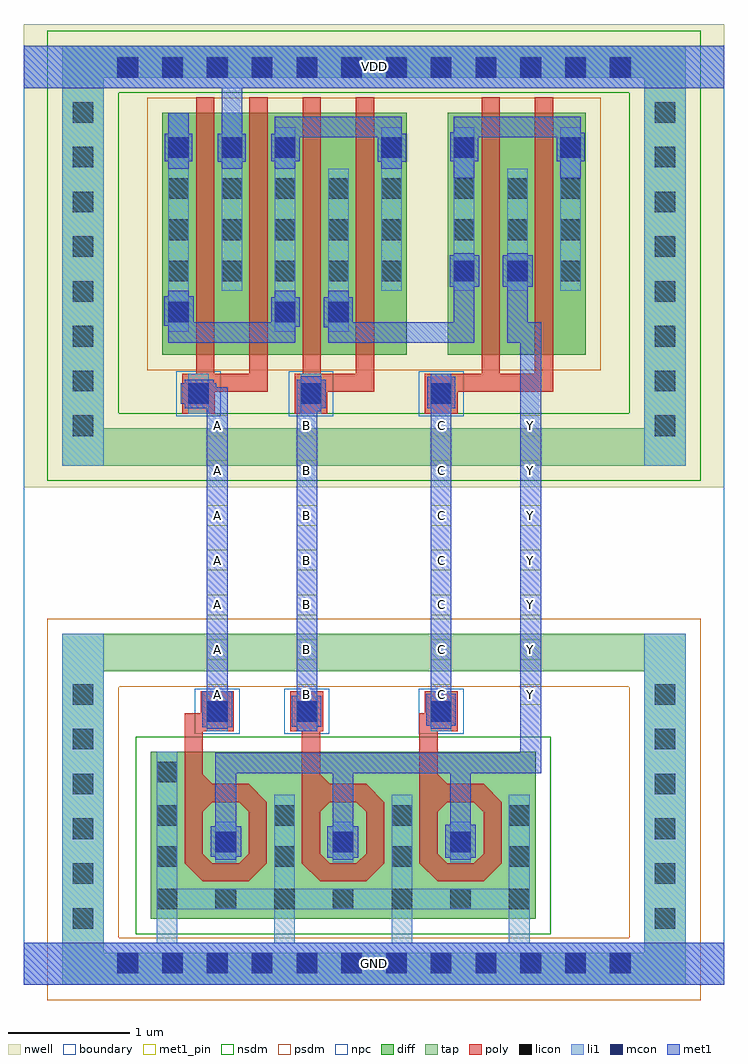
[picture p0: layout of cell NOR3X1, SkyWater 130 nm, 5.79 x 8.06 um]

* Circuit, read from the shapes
.subckt NOR3X1 A B C GND VDD Y
XM1 GND A Y GND sky130_fd_pr__nfet_01v8 w=2.56 l=0.1472
XM2 GND B Y GND sky130_fd_pr__nfet_01v8 w=2.56 l=0.1485
XM3 GND C Y GND sky130_fd_pr__nfet_01v8 w=2.56 l=0.1462
XM4 VDD A n1 VDD sky130_fd_pr__pfet_01v8 w=2 l=0.15 m=2
XM5 n2 B n1 VDD sky130_fd_pr__pfet_01v8 w=2 l=0.15 m=2
XM6 Y C n2 VDD sky130_fd_pr__pfet_01v8 w=2 l=0.15 m=2
.ends

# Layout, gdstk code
from math import pi, radians
import gdstk
lib = gdstk.Library(unit=1e-6, precision=1e-09)
def R(c, l, rs):  # rectangles x0, y0, x1, y1
    for r in rs: c.add(gdstk.rectangle(r[:2], r[2:], *l))
def A(c, l, x, y, w, h, nx, ny, dx, dy):  # array of equal rectangles
    R(c, l, [(x+i*dx, y+j*dy, x+i*dx+w, y+j*dy+h) for i in range(nx) for j in range(ny)])
def P(c, l, *ps):  # polygons
    for p in ps: c.add(gdstk.Polygon(p, *l))
nwell = (64, 20)
diff = (65, 20)
tap = (65, 44)
poly = (66, 20)
licon = (66, 44)
li1 = (67, 20)
mcon = (67, 44)
met1_pin = (68, 16)
met1 = (68, 20)
nsdm = (93, 44)
psdm = (94, 20)
npc = (95, 20)
boundary = (235, 4)

diff_ring_side = lib.new_cell('diff_ring_side')
R(diff_ring_side, nwell, [(-0.435,3.93,0.435,7.75)])
R(diff_ring_side, tap, [(-0.17,-0.17,0.17,2.72), (-0.17,4.11,0.17,7.57)])
A(diff_ring_side, licon, -0.085, 0.285, 0.17, 0.17, 1, 6, 0, 0.37)
A(diff_ring_side, licon, -0.085, 4.355, 0.17, 0.17, 1, 8, 0, 0.37)
R(diff_ring_side, li1, [(-0.17,-0.17,0.17,2.72), (-0.17,4.11,0.17,7.57)])
R(diff_ring_side, met1, [(-0.17,-0.17,0.17,0.17), (-0.17,7.23,0.17,7.57)])
R(diff_ring_side, nsdm, [(-0.295,3.985,0.295,7.695)])
R(diff_ring_side, psdm, [(-0.295,-0.295,0.295,2.845)])

nmos_top_trim1 = lib.new_cell('nmos_top_trim1')
R(nmos_top_trim1, diff, [(0,0,1.24,1.38)])
R(nmos_top_trim1, poly, [(0.43,0.31,0.81,0.46), (0.28,0.46,0.43,0.965), (0.81,0.46,0.96,0.965), (0.43,0.965,0.96,1.115), (0.81,1.115,0.96,1.545)])
P(nmos_top_trim1, poly, [(0.73,1.115),(0.81,1.115),(0.81,1.195)],
  [(0.28,0.965),(0.43,0.965),(0.43,1.115)],
  [(0.43,0.885),(0.43,0.965),(0.51,0.965)],
  [(0.73,0.965),(0.81,0.965),(0.81,0.885)],
  [(0.43,0.54),(0.43,0.46),(0.51,0.46)],
  [(0.73,0.46),(0.81,0.46),(0.81,0.54)],
  [(0.28,0.46),(0.43,0.46),(0.43,0.31)],
  [(0.81,0.31),(0.81,0.46),(0.96,0.46)])
A(nmos_top_trim1, licon, 0.05, 0.08, 0.17, 0.17, 3, 1, 0.485, 0)
R(nmos_top_trim1, licon, [(0.05,0.43,0.22,0.6), (1.02,0.43,1.19,0.6), (0.535,0.55,0.705,0.72), (0.05,0.77,0.22,0.94), (1.02,0.77,1.19,0.94), (1.02,1.13,1.19,1.3)])
R(nmos_top_trim1, li1, [(0.05,0,0.22,0.08), (1.02,0,1.19,0.08), (0.05,0.08,1.19,0.25), (0.05,0.25,0.22,1.02), (1.02,0.25,1.19,1.38), (0.535,0.47,0.705,0.805)])
R(nmos_top_trim1, nsdm, [(-0.125,-0.125,1.365,1.505)])

pmos2_1 = lib.new_cell('pmos2_1')
R(pmos2_1, nwell, [(0.26,-2.175,1.76,0.185)])
R(pmos2_1, diff, [(0.44,-1.995,1.58,0.005)])
R(pmos2_1, poly, [(0.72,-2.3,1.31,-2.15), (0.72,-2.15,0.87,0.135), (1.16,-2.15,1.31,0.135)])
A(pmos2_1, licon, 0.49, -1.385, 0.17, 0.17, 3, 3, 0.44, 0.34)
A(pmos2_1, li1, 0.49, -1.465, 0.17, 1.01, 3, 1, 0.44, 0)
R(pmos2_1, psdm, [(0.315,-2.12,1.705,0.13)])

poly_li1_contact = lib.new_cell('poly_li1_contact')
R(poly_li1_contact, poly, [(-0.16,-0.14,0.17,0.13)])
R(poly_li1_contact, licon, [(-0.08,-0.09,0.09,0.08)])
R(poly_li1_contact, li1, [(-0.16,-0.09,0.17,0.08)])
R(poly_li1_contact, npc, [(-0.18,-0.19,0.19,0.18)])

nmos_top_trim2 = lib.new_cell('nmos_top_trim2')
R(nmos_top_trim2, diff, [(0,0,1.24,1.38)])
R(nmos_top_trim2, poly, [(0.43,0.31,0.81,0.46), (0.28,0.46,0.43,0.89), (0.81,0.46,0.96,0.89), (0.28,0.89,0.435,0.965), (0.805,0.89,0.96,0.965), (0.43,0.965,0.96,1.115), (0.81,1.115,0.96,1.545)])
P(nmos_top_trim2, poly, [(0.73,1.115),(0.81,1.115),(0.81,1.195)],
  [(0.28,0.965),(0.43,0.965),(0.43,1.115)],
  [(0.435,0.89),(0.435,0.965),(0.51,0.965)],
  [(0.73,0.965),(0.805,0.965),(0.805,0.89)],
  [(0.43,0.54),(0.43,0.46),(0.51,0.46)],
  [(0.73,0.46),(0.81,0.46),(0.81,0.54)],
  [(0.28,0.46),(0.43,0.46),(0.43,0.31)],
  [(0.81,0.31),(0.81,0.46),(0.96,0.46)])
A(nmos_top_trim2, licon, 0.05, 0.08, 0.17, 0.17, 3, 1, 0.485, 0)
R(nmos_top_trim2, licon, [(0.05,0.43,0.22,0.6), (1.02,0.43,1.19,0.6), (0.535,0.55,0.705,0.72), (0.05,0.77,0.22,0.94), (1.02,0.77,1.19,0.94)])
R(nmos_top_trim2, li1, [(0.05,0,0.22,0.08), (1.02,0,1.19,0.08), (0.05,0.08,1.19,0.25), (0.05,0.25,0.22,1.025), (1.02,0.25,1.19,1.025), (0.535,0.47,0.705,0.805)])
R(nmos_top_trim2, nsdm, [(-0.125,-0.125,1.365,1.505)])

nor3x1_pcell = lib.new_cell('nor3x1_pcell')
R(nor3x1_pcell, nwell, [(0.435,3.93,4.765,7.75)])
A(nor3x1_pcell, diff, 0.705, 6.655, 0.17, 0.17, 3, 1, 0.44, 0)
R(nor3x1_pcell, diff, [(0.705,5.295,0.875,5.465), (1.585,5.295,1.755,5.465), (2.025,5.295,2.195,5.465), (2.465,6.655,2.635,6.825), (3.065,6.655,3.235,6.825), (3.945,6.655,4.115,6.825)])
R(nor3x1_pcell, tap, [(0.17,-0.17,4.64,0.085), (0.17,2.41,4.64,2.72), (0.17,4.11,4.64,4.42), (0.17,7.315,4.64,7.57)])
R(nor3x1_pcell, poly, [(0.84,1.875,0.99,2.065), (1.81,1.91,1.96,1.915), (2.78,1.91,2.93,2.065), (3.095,4.72,3.295,4.87)])
A(nor3x1_pcell, licon, 0.285, -0.085, 0.17, 0.17, 12, 2, 0.37, 7.4)
A(nor3x1_pcell, licon, 0.705, 6.655, 0.17, 0.17, 3, 1, 0.44, 0)
R(nor3x1_pcell, licon, [(0.705,5.295,0.875,5.465), (1.585,5.295,1.755,5.465), (2.025,5.295,2.195,5.465), (2.465,6.655,2.635,6.825), (3.065,6.655,3.235,6.825), (3.945,6.655,4.115,6.825)])
A(nor3x1_pcell, li1, 1.095, 0.915, 0.17, 0.17, 3, 1, 0.97, 0)
R(nor3x1_pcell, li1, [(-0.17,-0.17,4.655,0.17), (0.61,0.17,0.78,0.445), (1.58,0.17,1.75,0.445), (2.55,0.17,2.72,0.45), (3.52,0.17,3.69,0.45), (1.025,1.995,1.195,2.165), (1.765,1.995,1.935,2.165), (2.875,1.995,3.045,2.165), (0.87,4.62,1.04,4.79), (1.8,4.62,1.97,4.79), (2.875,4.62,3.045,4.79), (0.705,5.215,0.875,5.975), (1.585,5.215,1.755,5.975), (2.025,5.215,2.195,5.975), (3.065,5.635,3.235,5.805), (3.505,5.635,3.675,5.805), (1.145,6.145,1.315,7.025), (1.585,6.145,1.755,6.905), (2.465,6.145,2.635,6.905), (3.065,6.145,3.235,6.905), (3.945,6.145,4.115,6.905), (0.705,6.525,0.875,7.025), (-0.12,7.23,4.695,7.57)])
A(nor3x1_pcell, mcon, 0.285, -0.085, 0.17, 0.17, 12, 2, 0.37, 7.4)
A(nor3x1_pcell, mcon, 1.095, 0.915, 0.17, 0.17, 3, 1, 0.97, 0)
A(nor3x1_pcell, mcon, 0.705, 6.655, 0.17, 0.17, 3, 1, 0.44, 0)
R(nor3x1_pcell, mcon, [(1.025,1.995,1.195,2.165), (1.765,1.995,1.935,2.165), (2.875,1.995,3.045,2.165), (0.87,4.62,1.04,4.79), (1.8,4.62,1.97,4.79), (2.875,4.62,3.045,4.79), (0.705,5.295,0.875,5.465), (1.585,5.295,1.755,5.465), (2.025,5.295,2.195,5.465), (3.065,5.635,3.235,5.805), (3.505,5.635,3.675,5.805), (2.465,6.655,2.635,6.825), (3.065,6.655,3.235,6.825), (3.945,6.655,4.115,6.825)])
R(nor3x1_pcell, met1, [(0.17,-0.17,4.64,0.17), (1.095,0.855,1.265,0.88), (2.065,0.855,2.235,0.87), (3.035,0.855,3.205,0.87), (2.02,0.87,2.275,1.13), (2.995,0.87,3.245,1.145), (1.055,0.88,1.31,1.13), (1.095,1.13,1.265,1.57), (2.065,1.13,2.235,1.57), (3.035,1.145,3.205,1.57), (1.095,1.57,3.785,1.74), (3.615,1.74,3.785,5.125), (1.765,1.915,1.935,1.955), (1.025,1.935,1.195,1.95), (2.875,1.935,3.045,1.96), (0.985,1.95,1.235,2.245), (1.725,1.955,1.97,2.21), (2.835,1.96,3.08,2.225), (1.765,2.21,1.935,4.56), (2.875,2.225,3.045,4.585), (1.025,2.245,1.195,4.585), (1.765,4.56,1.97,4.585), (0.84,4.585,1.195,4.62), (1.765,4.585,2.005,4.82), (2.845,4.585,3.075,4.845), (0.81,4.62,1.195,4.76), (0.81,4.76,1.1,4.79), (0.84,4.79,1.08,4.82), (1.8,4.82,1.97,4.85), (2.875,4.845,3.045,4.87), (0.705,5.125,1.755,5.26), (2.025,5.125,3.235,5.255), (3.505,5.125,3.785,5.295), (1.99,5.255,3.235,5.295), (0.705,5.26,1.79,5.265), (0.67,5.265,1.79,5.295), (0.67,5.295,0.915,5.51), (1.555,5.295,1.79,5.5), (1.99,5.295,2.23,5.5), (3.065,5.295,3.235,5.59), (3.505,5.295,3.675,5.59), (1.585,5.5,1.755,5.555), (2.025,5.5,2.195,5.555), (0.705,5.51,0.875,5.555), (3.03,5.59,3.275,5.85), (3.47,5.59,3.715,5.85), (3.065,5.85,3.235,5.865), (3.505,5.85,3.675,5.865), (3.065,6.485,3.235,6.625), (3.945,6.485,4.115,6.625), (0.705,6.565,0.875,6.625), (1.145,6.565,1.315,6.62), (1.585,6.565,1.755,6.625), (2.465,6.565,2.635,6.62), (1.115,6.62,1.345,6.855), (2.435,6.62,2.67,6.825), (0.675,6.625,0.905,6.855), (1.555,6.625,1.79,6.825), (3.035,6.625,3.265,6.825), (3.915,6.625,4.145,6.825), (1.555,6.825,2.67,6.855), (3.035,6.825,4.145,6.86), (0.705,6.855,0.875,7.025), (1.145,6.855,1.315,7.23), (1.585,6.855,2.635,6.995), (3.035,6.86,4.115,6.865), (3.065,6.865,4.115,6.995), (0.17,7.23,4.64,7.57)])
R(nor3x1_pcell, nsdm, [(0.045,3.985,4.765,4.545), (0.045,7.19,4.765,7.695)])
R(nor3x1_pcell, psdm, [(0.045,-0.295,4.765,0.21), (0.045,2.285,4.765,2.845), (2.8,4.9,2.89,6.53), (0.58,5.17,1,5.59), (1.46,5.17,2.32,5.59), (0.58,6.53,1.88,6.95), (2.34,6.53,3.36,6.95), (3.82,6.53,4.24,6.95), (2.8,6.95,2.89,7.15)])
nor3x1_pcell.add(gdstk.Reference(diff_ring_side, (0,0)))
nor3x1_pcell.add(gdstk.Reference(nmos_top_trim1, (1.8,0.365), rotation=pi, x_reflection=True))
nor3x1_pcell.add(gdstk.Reference(pmos2_1, (0.215,7.02)))
nor3x1_pcell.add(gdstk.Reference(poly_li1_contact, (0.96,4.71), rotation=3*pi/2))
nor3x1_pcell.add(gdstk.Reference(poly_li1_contact, (1.115,2.085), rotation=3*pi/2))
nor3x1_pcell.add(gdstk.Reference(nmos_top_trim2, (2.77,0.365), rotation=pi, x_reflection=True))
nor3x1_pcell.add(gdstk.Reference(nmos_top_trim2, (3.74,0.365), rotation=pi, x_reflection=True))
nor3x1_pcell.add(gdstk.Reference(pmos2_1, (1.095,7.02)))
nor3x1_pcell.add(gdstk.Reference(poly_li1_contact, (1.845,2.075), rotation=pi/2))
nor3x1_pcell.add(gdstk.Reference(poly_li1_contact, (1.89,4.71), rotation=3*pi/2))
nor3x1_pcell.add(gdstk.Reference(pmos2_1, (2.575,7.02)))
nor3x1_pcell.add(gdstk.Reference(poly_li1_contact, (2.955,2.075), rotation=pi/2))
nor3x1_pcell.add(gdstk.Reference(poly_li1_contact, (2.965,4.71), rotation=3*pi/2))
nor3x1_pcell.add(gdstk.Reference(diff_ring_side, (4.81,0)))

nor3x1 = lib.new_cell('NOR3X1')
R(nor3x1, nwell, [(0,4.11,5.79,7.94)])
R(nor3x1, tap, [(0.32,0,5.47,0.065), (0.32,7.75,5.47,7.76)])
R(nor3x1, li1, [(0,0,5.79,0.085), (0,0.085,0.44,0.35), (5.35,0.085,5.79,0.35), (0,7.41,0.39,7.675), (5.29,7.41,5.79,7.675), (0,7.675,5.79,7.76)])
A(nor3x1, met1_pin, 1.515, 2.315, 0.17, 0.17, 1, 7, 0, 0.37)
A(nor3x1, met1_pin, 2.255, 2.315, 0.17, 0.17, 1, 7, 0, 0.37)
A(nor3x1, met1_pin, 3.365, 2.315, 0.17, 0.17, 1, 7, 0, 0.37)
A(nor3x1, met1_pin, 4.105, 2.315, 0.17, 0.17, 1, 7, 0, 0.37)
R(nor3x1, met1_pin, [(0,0,5.79,0.35), (0,7.41,5.79,7.76)])
R(nor3x1, met1, [(0,0,5.79,0.35), (0,7.41,5.79,7.76)])
R(nor3x1, nsdm, [(0.195,7.625,5.595,7.885)])
R(nor3x1, psdm, [(0.195,-0.125,5.595,0.19)])
R(nor3x1, boundary, [(0,0,5.79,7.76)])
nor3x1.add(gdstk.Reference(nor3x1_pcell, (0.49,0.18)))
nor3x1.add(gdstk.Label('Y', (4.19,4.62), layer=68, texttype=5))
nor3x1.add(gdstk.Label('Y', (4.19,4.25), layer=68, texttype=5))
nor3x1.add(gdstk.Label('Y', (4.19,3.88), layer=68, texttype=5))
nor3x1.add(gdstk.Label('Y', (4.19,3.51), layer=68, texttype=5))
nor3x1.add(gdstk.Label('Y', (4.19,3.14), layer=68, texttype=5))
nor3x1.add(gdstk.Label('Y', (4.19,2.77), layer=68, texttype=5))
nor3x1.add(gdstk.Label('Y', (4.19,2.4), layer=68, texttype=5))
nor3x1.add(gdstk.Label('A', (1.6,4.62), layer=68, texttype=5))
nor3x1.add(gdstk.Label('A', (1.6,4.25), layer=68, texttype=5))
nor3x1.add(gdstk.Label('A', (1.6,3.88), layer=68, texttype=5))
nor3x1.add(gdstk.Label('A', (1.6,3.51), layer=68, texttype=5))
nor3x1.add(gdstk.Label('A', (1.6,3.14), layer=68, texttype=5))
nor3x1.add(gdstk.Label('A', (1.6,2.77), layer=68, texttype=5))
nor3x1.add(gdstk.Label('A', (1.6,2.4), layer=68, texttype=5))
nor3x1.add(gdstk.Label('B', (2.34,4.62), layer=68, texttype=5))
nor3x1.add(gdstk.Label('B', (2.34,4.25), layer=68, texttype=5))
nor3x1.add(gdstk.Label('B', (2.34,3.88), layer=68, texttype=5))
nor3x1.add(gdstk.Label('B', (2.34,3.51), layer=68, texttype=5))
nor3x1.add(gdstk.Label('B', (2.34,3.14), layer=68, texttype=5))
nor3x1.add(gdstk.Label('B', (2.34,2.77), layer=68, texttype=5))
nor3x1.add(gdstk.Label('B', (2.34,2.4), layer=68, texttype=5))
nor3x1.add(gdstk.Label('C', (3.45,4.62), layer=68, texttype=5))
nor3x1.add(gdstk.Label('C', (3.45,4.25), layer=68, texttype=5))
nor3x1.add(gdstk.Label('C', (3.45,3.88), layer=68, texttype=5))
nor3x1.add(gdstk.Label('C', (3.45,3.51), layer=68, texttype=5))
nor3x1.add(gdstk.Label('C', (3.45,3.14), layer=68, texttype=5))
nor3x1.add(gdstk.Label('C', (3.45,2.77), layer=68, texttype=5))
nor3x1.add(gdstk.Label('C', (3.45,2.4), layer=68, texttype=5))
nor3x1.add(gdstk.Label('VDD', (2.895,7.585), layer=68, texttype=5))
nor3x1.add(gdstk.Label('GND', (2.895,0.175), layer=68, texttype=5))

lib.write_gds('NOR3X1.gds')
